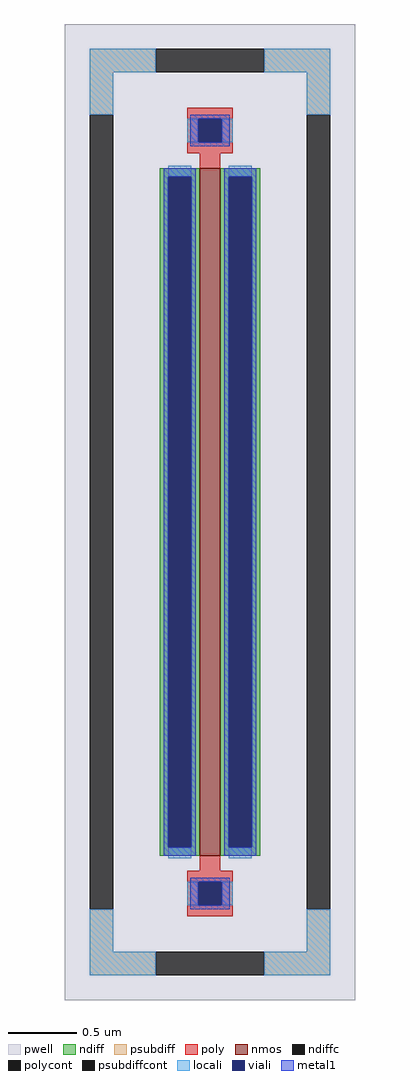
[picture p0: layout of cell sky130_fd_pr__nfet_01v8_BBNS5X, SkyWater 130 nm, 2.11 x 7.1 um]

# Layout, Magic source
magic
tech sky130A
magscale 1 2
<< pwell >>
rect -211 -710 211 710
<< nmos >>
rect -15 -500 15 500
<< ndiff >>
rect -73 488 -15 500
rect -73 -488 -61 488
rect -27 -488 -15 488
rect -73 -500 -15 -488
rect 15 488 73 500
rect 15 -488 27 488
rect 61 -488 73 488
rect 15 -500 73 -488
<< ndiffc >>
rect -61 -488 -27 488
rect 27 -488 61 488
<< psubdiff >>
rect -175 640 -79 674
rect 79 640 175 674
rect -175 578 -141 640
rect 141 578 175 640
rect -175 -640 -141 -578
rect 141 -640 175 -578
rect -175 -674 -79 -640
rect 79 -674 175 -640
<< psubdiffcont >>
rect -79 640 79 674
rect -175 -578 -141 578
rect 141 -578 175 578
rect -79 -674 79 -640
<< poly >>
rect -33 572 33 588
rect -33 538 -17 572
rect 17 538 33 572
rect -33 522 33 538
rect -15 500 15 522
rect -15 -522 15 -500
rect -33 -538 33 -522
rect -33 -572 -17 -538
rect 17 -572 33 -538
rect -33 -588 33 -572
<< polycont >>
rect -17 538 17 572
rect -17 -572 17 -538
<< locali >>
rect -175 640 -79 674
rect 79 640 175 674
rect -175 578 -141 640
rect 141 578 175 640
rect -33 538 -17 572
rect 17 538 33 572
rect -61 488 -27 504
rect -61 -504 -27 -488
rect 27 488 61 504
rect 27 -504 61 -488
rect -33 -572 -17 -538
rect 17 -572 33 -538
rect -175 -640 -141 -578
rect 141 -640 175 -578
rect -175 -674 -79 -640
rect 79 -674 175 -640
<< viali >>
rect -17 538 17 572
rect -61 -488 -27 488
rect 27 -488 61 488
rect -17 -572 17 -538
<< metal1 >>
rect -29 572 29 578
rect -29 538 -17 572
rect 17 538 29 572
rect -29 532 29 538
rect -67 488 -21 500
rect -67 -488 -61 488
rect -27 -488 -21 488
rect -67 -500 -21 -488
rect 21 488 67 500
rect 21 -488 27 488
rect 61 -488 67 488
rect 21 -500 67 -488
rect -29 -538 29 -532
rect -29 -572 -17 -538
rect 17 -572 29 -538
rect -29 -578 29 -572
<< properties >>
string FIXED_BBOX -158 -657 158 657
string gencell sky130_fd_pr__nfet_01v8
string library sky130
string parameters w 5.0 l 0.15 m 1 nf 1 diffcov 100 polycov 100 guard 1 glc 1 grc 1 gtc 1 gbc 1 tbcov 100 rlcov 100 topc 1 botc 1 poverlap 0 doverlap 1 lmin 0.15 wmin 0.42 compatible {sky130_fd_pr__nfet_01v8 sky130_fd_pr__nfet_01v8_lvt  sky130_fd_bs_flash__special_sonosfet_star  sky130_fd_pr__nfet_g5v0d10v5 sky130_fd_pr__nfet_05v0_nvt  sky130_fd_pr__nfet_03v3_nvt} full_metal 1 viasrc 100 viadrn 100 viagate 100 viagb 0 viagr 0 viagl 0 viagt 0
<< end >>
